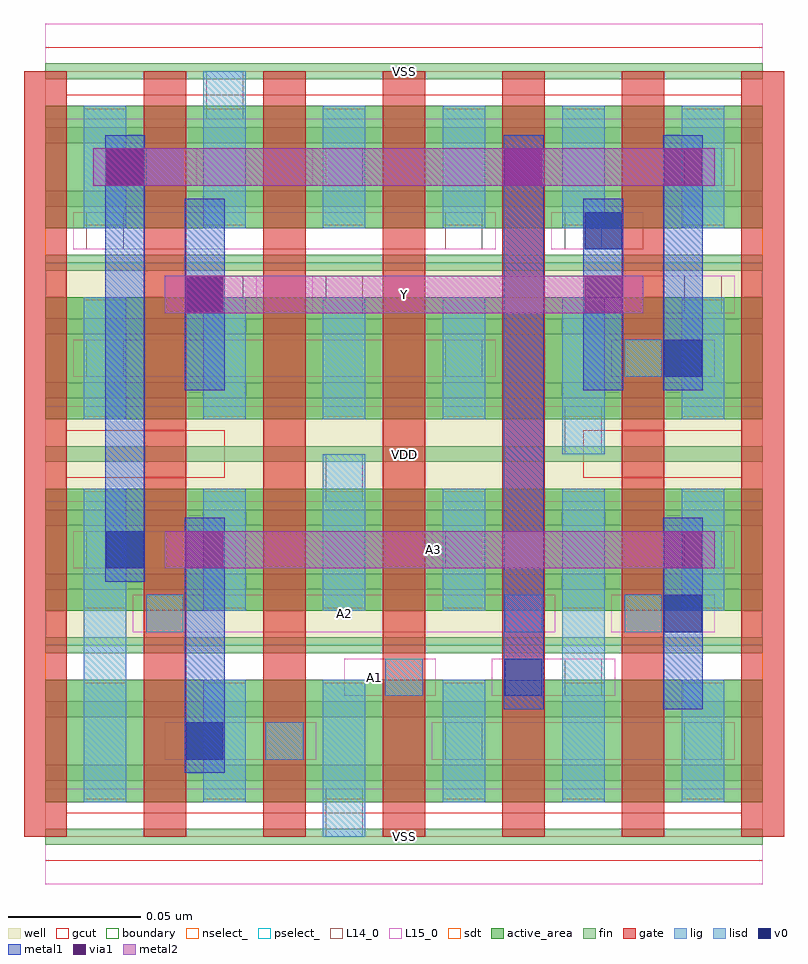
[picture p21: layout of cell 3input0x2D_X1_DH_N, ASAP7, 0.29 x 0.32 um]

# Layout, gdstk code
import gdstk
lib = gdstk.Library(unit=1e-6, precision=2.5e-10)
def R(c, l, rs):  # rectangles x0, y0, x1, y1
    for r in rs: c.add(gdstk.rectangle(r[:2], r[2:], *l))
def A(c, l, x, y, w, h, nx, ny, dx, dy):  # array of equal rectangles
    R(c, l, [(x+i*dx, y+j*dy, x+i*dx+w, y+j*dy+h) for i in range(nx) for j in range(ny)])
def P(c, l, *ps):  # polygons
    for p in ps: c.add(gdstk.Polygon(p, *l))
well = (1, 0)
fin = (2, 0)
gate = (7, 0)
gcut = (10, 0)
active_area = (11, 0)
nselect_ = (12, 0)
pselect_ = (13, 0)
L14_0 = (14, 0)
L15_0 = (15, 0)
lig = (16, 0)
lisd = (17, 0)
v0 = (18, 0)
metal1 = (19, 0)
metal2 = (20, 0)
via1 = (21, 0)
sdt = (88, 0)
boundary = (100, 0)

c_3input0x2d_x1_dh_n = lib.new_cell('3input0x2D_X1_DH_N')
R(c_3input0x2d_x1_dh_n, well, [(0,0.072,0.27,0.144), (0,0.144,0.27,0.216)])
A(c_3input0x2d_x1_dh_n, fin, 0, -0.003, 0.27, 0.006, 1, 13, 0, 0.024)
A(c_3input0x2d_x1_dh_n, gate, -0.008, 0, 0.016, 0.288, 7, 1, 0.045, 0)
P(c_3input0x2d_x1_dh_n, gcut, [(0,-0.009),(0,0),(-0.008,0),(-0.008,0.279),(0.008,0.279),(0.008,0.153),(0.0675,0.153),(0.0675,0.135),(0.008,0.135),(0.008,0.009),(0.262,0.009),(0.262,0.135),(0.2025,0.135),(0.2025,0.153),(0.262,0.153),(0.262,0.279),(-0.008,0.279),(-0.008,0.288),(0,0.288),(0,0.297),(0.27,0.297),(0.27,0.288),(0.278,0.288),(0.278,0),(0.27,0),(0.27,-0.009)])
A(c_3input0x2d_x1_dh_n, active_area, 0, 0.013, 0.27, 0.046, 1, 4, 0, 0.072)
R(c_3input0x2d_x1_dh_n, nselect_, [(0,0,0.27,0.072), (0,0.216,0.27,0.288)])
R(c_3input0x2d_x1_dh_n, pselect_, [(0,0.072,0.27,0.144), (0,0.144,0.27,0.216)])
A(c_3input0x2d_x1_dh_n, L14_0, 0.1505, 0.029, 0.014, 0.014, 1, 3, 0, 0.072)
R(c_3input0x2d_x1_dh_n, L14_0, [(0.1055,0,0.1195,0.018), (0.083,0.029,0.097,0.043), (0.2405,0.029,0.2545,0.043), (0.128,0.053,0.142,0.067), (0.1955,0.053,0.2095,0.067), (0.038,0.077,0.052,0.091), (0.173,0.077,0.187,0.091), (0.218,0.077,0.232,0.091), (0.0155,0.101,0.0295,0.115), (0.2405,0.101,0.2545,0.115), (0.1055,0.126,0.1195,0.144), (0.1955,0.144,0.2095,0.162), (0.0155,0.173,0.0295,0.187), (0.218,0.173,0.232,0.187), (0.0605,0.197,0.0745,0.211), (0.1055,0.197,0.1195,0.211), (0.2405,0.197,0.2545,0.211), (0.0155,0.221,0.0295,0.235), (0.1505,0.221,0.1645,0.235), (0.1955,0.221,0.2095,0.235), (0.038,0.245,0.052,0.259), (0.1055,0.245,0.1195,0.259), (0.2405,0.245,0.2545,0.259), (0.0605,0.27,0.0745,0.288)])
A(c_3input0x2d_x1_dh_n, L15_0, 0, -0.018, 0.27, 0.036, 1, 3, 0, 0.144)
R(c_3input0x2d_x1_dh_n, L15_0, [(0.045,0.029,0.102,0.043), (0.1455,0.029,0.2595,0.043), (0.1125,0.053,0.147,0.067), (0.168,0.053,0.2145,0.067), (0.033,0.077,0.192,0.091), (0.213,0.077,0.252,0.091), (0.0105,0.101,0.045,0.115), (0.1455,0.101,0.2595,0.115), (0.0105,0.173,0.1695,0.187), (0.213,0.173,0.252,0.187), (0.045,0.197,0.0795,0.211), (0.1005,0.197,0.2595,0.211), (0.0105,0.221,0.1695,0.235), (0.1905,0.221,0.225,0.235), (0.018,0.245,0.057,0.259), (0.1005,0.245,0.2595,0.259)])
R(c_3input0x2d_x1_dh_n, lig, [(0.083,0.029,0.097,0.043), (0.128,0.053,0.142,0.067), (0.038,0.077,0.052,0.091), (0.173,0.077,0.187,0.091), (0.218,0.077,0.232,0.091), (0.218,0.173,0.232,0.187), (0.038,0.245,0.052,0.259)])
A(c_3input0x2d_x1_dh_n, lisd, 0.0595, 0.013, 0.016, 0.046, 3, 2, 0.09, 0.072)
A(c_3input0x2d_x1_dh_n, lisd, 0.0145, 0.157, 0.016, 0.046, 4, 1, 0.045, 0)
A(c_3input0x2d_x1_dh_n, lisd, 0.1045, 0.229, 0.016, 0.046, 4, 1, 0.045, 0)
R(c_3input0x2d_x1_dh_n, lisd, [(0.1045,0,0.1205,0.059), (0.0145,0.013,0.0305,0.131), (0.1945,0.013,0.2105,0.131), (0.1045,0.085,0.1205,0.144), (0.1945,0.144,0.2105,0.203), (0.2395,0.157,0.2555,0.203), (0.0145,0.229,0.0305,0.275), (0.0595,0.229,0.0755,0.288)])
R(c_3input0x2d_x1_dh_n, v0, [(0.053,0.029,0.067,0.043), (0.173,0.053,0.187,0.067), (0.233,0.077,0.247,0.091), (0.023,0.101,0.037,0.115), (0.233,0.173,0.247,0.187), (0.053,0.197,0.067,0.211), (0.203,0.221,0.217,0.235), (0.023,0.245,0.037,0.259)])
R(c_3input0x2d_x1_dh_n, metal1, [(0.0525,0.024,0.0675,0.12), (0.1725,0.048,0.1875,0.264), (0.2325,0.048,0.2475,0.12), (0.0225,0.096,0.0375,0.264), (0.0525,0.168,0.0675,0.24), (0.2025,0.168,0.2175,0.24), (0.2325,0.168,0.2475,0.264)])
R(c_3input0x2d_x1_dh_n, metal2, [(0.045,0.101,0.252,0.115), (0.045,0.197,0.225,0.211), (0.018,0.245,0.252,0.259)])
R(c_3input0x2d_x1_dh_n, via1, [(0.053,0.101,0.067,0.115), (0.233,0.101,0.247,0.115), (0.053,0.197,0.067,0.211), (0.203,0.197,0.217,0.211), (0.023,0.245,0.037,0.259), (0.173,0.245,0.187,0.259), (0.233,0.245,0.247,0.259)])
A(c_3input0x2d_x1_dh_n, sdt, 0.0145, 0.014, 0.016, 0.044, 6, 4, 0.045, 0.072)
R(c_3input0x2d_x1_dh_n, boundary, [(0,0,0.27,0.288)])
c_3input0x2d_x1_dh_n.add(gdstk.Label('A1', (0.1238,0.06), layer=15, texttype=251))
c_3input0x2d_x1_dh_n.add(gdstk.Label('VSS', (0.135,0), layer=15, texttype=251))
c_3input0x2d_x1_dh_n.add(gdstk.Label('VDD', (0.135,0.144), layer=15, texttype=251))
c_3input0x2d_x1_dh_n.add(gdstk.Label('VDD', (0.135,0.144), layer=15, texttype=251))
c_3input0x2d_x1_dh_n.add(gdstk.Label('VSS', (0.135,0.288), layer=15, texttype=251))
c_3input0x2d_x1_dh_n.add(gdstk.Label('VSS', (0.135,0), layer=15, texttype=251))
c_3input0x2d_x1_dh_n.add(gdstk.Label('VDD', (0.135,0.144), layer=15, texttype=251))
c_3input0x2d_x1_dh_n.add(gdstk.Label('VDD', (0.135,0.144), layer=15, texttype=251))
c_3input0x2d_x1_dh_n.add(gdstk.Label('VSS', (0.135,0.288), layer=15, texttype=251))
c_3input0x2d_x1_dh_n.add(gdstk.Label('A2', (0.1125,0.084), layer=15, texttype=251))
c_3input0x2d_x1_dh_n.add(gdstk.Label('VSS', (0.135,0), layer=15, texttype=251))
c_3input0x2d_x1_dh_n.add(gdstk.Label('VDD', (0.135,0.144), layer=15, texttype=251))
c_3input0x2d_x1_dh_n.add(gdstk.Label('VDD', (0.135,0.144), layer=15, texttype=251))
c_3input0x2d_x1_dh_n.add(gdstk.Label('VSS', (0.135,0.288), layer=15, texttype=251))
c_3input0x2d_x1_dh_n.add(gdstk.Label('VSS', (0.135,0), layer=15, texttype=251))
c_3input0x2d_x1_dh_n.add(gdstk.Label('VDD', (0.135,0.144), layer=15, texttype=251))
c_3input0x2d_x1_dh_n.add(gdstk.Label('VDD', (0.135,0.144), layer=15, texttype=251))
c_3input0x2d_x1_dh_n.add(gdstk.Label('VSS', (0.135,0.288), layer=15, texttype=251))
c_3input0x2d_x1_dh_n.add(gdstk.Label('VSS', (0.135,0), layer=3, texttype=251))
c_3input0x2d_x1_dh_n.add(gdstk.Label('VSS', (0.135,0.288), layer=3, texttype=251))
c_3input0x2d_x1_dh_n.add(gdstk.Label('VSS', (0.135,0), layer=3, texttype=251))
c_3input0x2d_x1_dh_n.add(gdstk.Label('VSS', (0.135,0.288), layer=3, texttype=251))
c_3input0x2d_x1_dh_n.add(gdstk.Label('VSS', (0.135,0), layer=3, texttype=251))
c_3input0x2d_x1_dh_n.add(gdstk.Label('VSS', (0.135,0.288), layer=3, texttype=251))
c_3input0x2d_x1_dh_n.add(gdstk.Label('VSS', (0.135,0), layer=3, texttype=251))
c_3input0x2d_x1_dh_n.add(gdstk.Label('VSS', (0.135,0.288), layer=3, texttype=251))
c_3input0x2d_x1_dh_n.add(gdstk.Label('VDD', (0.135,0.144), layer=1, texttype=251))
c_3input0x2d_x1_dh_n.add(gdstk.Label('VDD', (0.135,0.144), layer=1, texttype=251))
c_3input0x2d_x1_dh_n.add(gdstk.Label('VDD', (0.135,0.144), layer=1, texttype=251))
c_3input0x2d_x1_dh_n.add(gdstk.Label('VDD', (0.135,0.144), layer=1, texttype=251))
c_3input0x2d_x1_dh_n.add(gdstk.Label('VDD', (0.135,0.144), layer=1, texttype=251))
c_3input0x2d_x1_dh_n.add(gdstk.Label('VDD', (0.135,0.144), layer=1, texttype=251))
c_3input0x2d_x1_dh_n.add(gdstk.Label('VDD', (0.135,0.144), layer=1, texttype=251))
c_3input0x2d_x1_dh_n.add(gdstk.Label('VDD', (0.135,0.144), layer=1, texttype=251))
c_3input0x2d_x1_dh_n.add(gdstk.Label('A3', (0.1463,0.108), layer=20, texttype=251))
c_3input0x2d_x1_dh_n.add(gdstk.Label('Y', (0.135,0.204), layer=20, texttype=251))

lib.write_gds('3input0x2D_X1_DH_N.gds')
